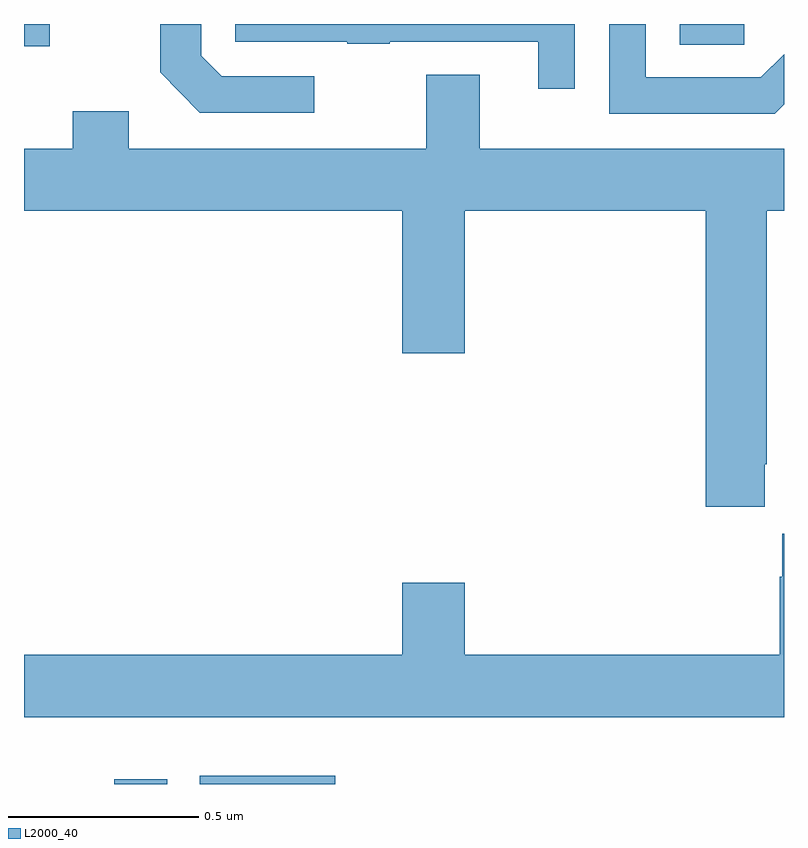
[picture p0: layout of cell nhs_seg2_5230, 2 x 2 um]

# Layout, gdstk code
import gdstk
lib = gdstk.Library(unit=1e-6, precision=1e-09)
def R(c, l, rs):  # rectangles x0, y0, x1, y1
    for r in rs: c.add(gdstk.rectangle(r[:2], r[2:], *l))
def P(c, l, *ps):  # polygons
    for p in ps: c.add(gdstk.Polygon(p, *l))
L2000_40 = (2000, 40)

nhs_seg2_5230 = lib.new_cell('nhs_seg2_5230')
R(nhs_seg2_5230, L2000_40, [(176.237,640.8,176.377,640.813), (176.463,640.8,176.819,640.822), (176,642.741,176.068,642.8), (177.726,642.745,177.895,642.8)])
P(nhs_seg2_5230, L2000_40, [(178,642.589),(178,642.721),(177.939,642.66),(177.636,642.66),(177.636,642.8),(177.54,642.8),(177.54,642.564),(177.975,642.564)],
  [(177.449,642.8),(176.556,642.8),(176.556,642.753),(176.851,642.753),(176.851,642.748),(176.963,642.748),(176.963,642.753),(177.353,642.753),(177.353,642.63),(177.449,642.63)],
  [(176.764,642.663),(176.52,642.663),(176.466,642.717),(176.466,642.8),(176.358,642.8),(176.358,642.673),(176.463,642.567),(176.764,642.567)],
  [(177.949,641.641),(177.954,641.641),(177.954,642.308),(178,642.308),(178,642.472),(177.199,642.472),(177.199,642.667),(177.059,642.667),(177.059,642.472),(176.275,642.472),(176.275,642.571),(176.128,642.571),(176.128,642.472),(176,642.472),(176,642.308),(176.996,642.308),(176.996,641.934),(177.16,641.934),(177.16,642.308),(177.794,642.308),(177.794,641.529),(177.949,641.529)],
  [(178,641.458),(177.995,641.458),(177.995,641.345),(177.989,641.345),(177.989,641.14),(177.16,641.14),(177.16,641.329),(176.996,641.329),(176.996,641.14),(176,641.14),(176,640.976),(178,640.976)])

lib.write_gds('nhs_seg2_5230.gds')
